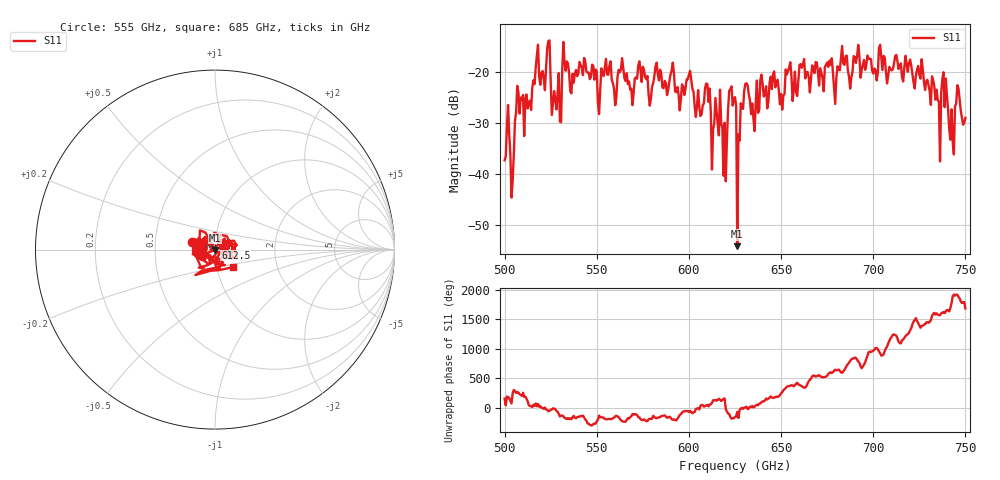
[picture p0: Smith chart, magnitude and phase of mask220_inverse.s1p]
!Created with skrf (http://scikit-rf.org).
# GHz S MA R 50.0
!freq magS11 angS11
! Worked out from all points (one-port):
!   401 points, 500 GHz to 750 GHz, reference 50 ohm
!   lowest |S11| = -54.2 dB at 626.2 GHz (marker M1), VSWR 1.00, Z = 50.1 - j0.187 ohm
!   |S11| at or under -10 dB: start of sweep to end of sweep
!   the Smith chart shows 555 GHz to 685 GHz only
!   S11 on the Smith chart (normalised r, x): 555 GHz: 0.77, +0.07; 612.5 GHz: 1.00, +0.02; 685 GHz: 1.20, -0.24
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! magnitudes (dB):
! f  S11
! 500 GHz  -37.4
! 504.4 GHz  -41.3
! 506.9 GHz  -22.8
! 516.9 GHz  -19.2
! 523.8 GHz  -14.0
! 526.9 GHz  -23.8
! 531.2 GHz  -19.9
! 555 GHz  -17.5
! 562.5 GHz  -20.1
! 593.8 GHz  -23.0
! 610 GHz  -22.4
! 612.5 GHz  -39.2
! 615.6 GHz  -30.2
! 619.4 GHz  -30.0
! 623.1 GHz  -22.9
! 625 GHz  -25.0
! 626.2 GHz  -54.2
! 631.2 GHz  -22.2
! 635 GHz  -29.1
! 656.2 GHz  -25.7
! 685 GHz  -17.0
! 687.5 GHz  -23.3
! 718.8 GHz  -20.0
! 735 GHz  -25.6
! 738.8 GHz  -26.9
! 742.5 GHz  -27.4
! 745.6 GHz  -22.6
! 750 GHz  -29.0
